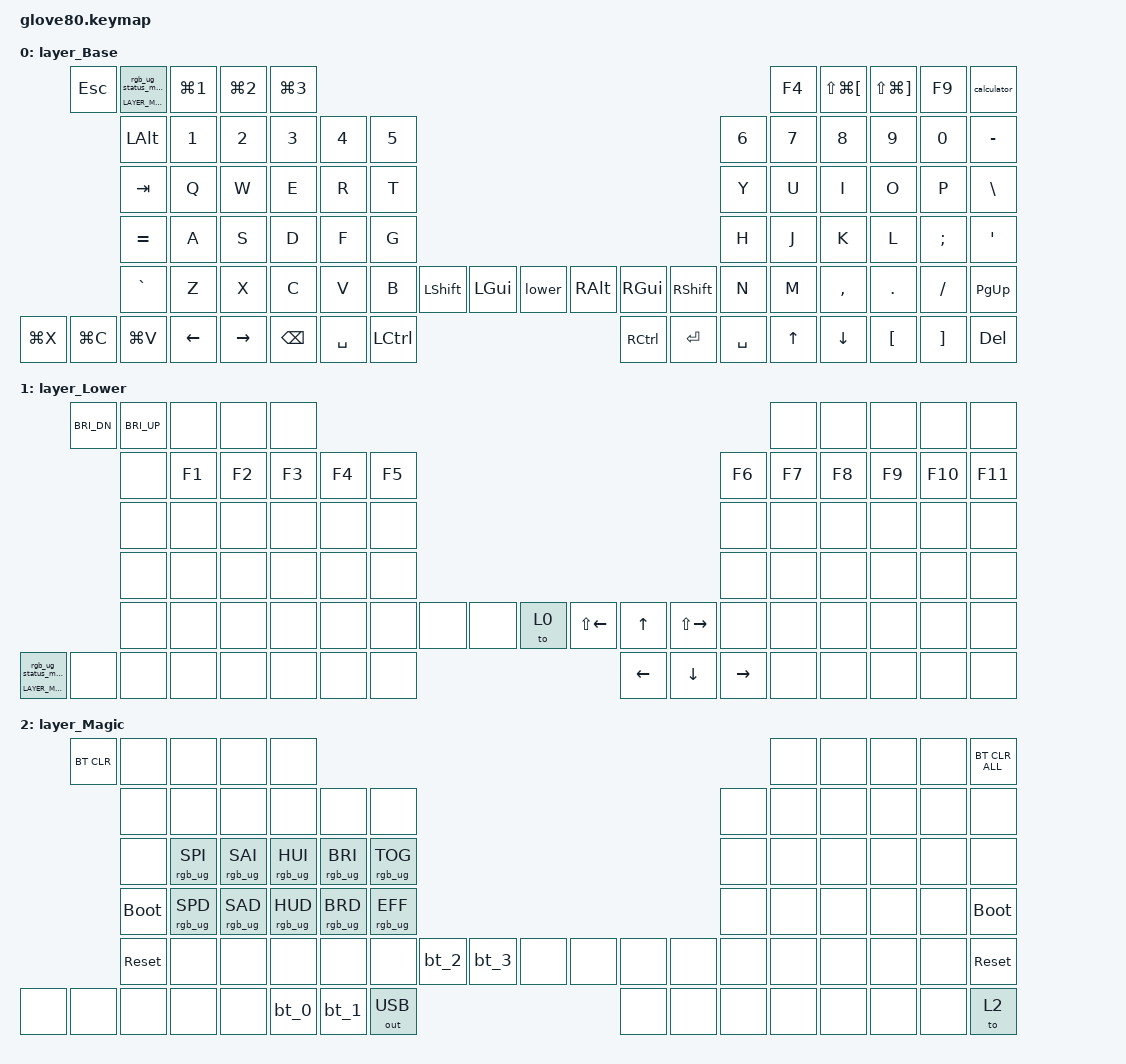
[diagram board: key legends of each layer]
/*
 * Copyright (c) 2020 The ZMK Contributors
 * Copyright (c) 2025 Innaworks Development Limited, trading as MoErgo
 *
 * SPDX-License-Identifier: MIT
 */


/* THIS FILE WAS GENERATED BY GLOVE80 LAYOUT EDITOR
 *
 * This file was generated automatically. You may or may not want to
 * edit it directly.
 */

#include <behaviors.dtsi>
/* Include all behavior includes needed */
#include <dt-bindings/zmk/outputs.h>
#include <dt-bindings/zmk/keys.h>
#include <dt-bindings/zmk/bt.h>
#include <dt-bindings/zmk/rgb.h>

#include <dt-bindings/zmk/rgb_colors.h>

/* Automatically generated layer name #define */
#define LAYER_Base 0
#define LAYER_Lower 1
#define LAYER_Magic 2

/* To deal with the situation where there is no Lower layer, to keep &lower happy */
#ifndef LAYER_Lower
#define LAYER_Lower 0
#endif

/* Custom Device-tree */


/ {
    underglow-layer {
        compatible  = "zmk,underglow-layer";


        lower {
            bindings = <
    &ug ___    &ug ___  &ug ___    &ug ___    &ug ___                                                                               &ug ___    &ug ___    &ug ___    &ug ___    &ug ___
    &ug ___    &ug ___  &ug ___    &ug ___    &ug ___ &ug ___                                                              &ug ___  &ug ___    &ug ___    &ug ___    &ug ___    &ug ___
    &ug ___    &ug ___  &ug ___    &ug ___    &ug ___ &ug ___                                                              &ug ___  &ug ___    &ug ___    &ug ___    &ug ___    &ug ___
    &ug ___    &ug ___  &ug ___    &ug ___    &ug ___ &ug ___                                                              &ug ___  &ug ___    &ug ___    &ug ___    &ug ___    &ug ___
    &ug ___    &ug ___  &ug ___    &ug ___    &ug ___ &ug ___  &ug ___ &ug ___   &ug BLUE     &ug ___   &ug GREEN &ug ___  &ug ___  &ug ___    &ug ___    &ug ___    &ug ___    &ug ___
    &ug ___    &ug ___  &ug ___    &ug ___    &ug ___          &ug ___ &ug ___   &ug ___      &ug GREEN &ug GREEN &ug GREEN         &ug ___    &ug ___    &ug ___    &ug ___    &ug ___
                >;
            layer-id = <LAYER_Lower>;
        };
    };
};

/* System behavior and Macros */
/ {
    behaviors {
        // For the "layer" key, it'd nice to be able to use it as either a shift or a toggle.
        // Configure it as a tap dance, so the first tap (or hold) is a &mo and the second tap is a &to
        lower: lower {
            compatible = "zmk,behavior-tap-dance";
            label = "LAYER_TAP_DANCE";
            #binding-cells = <0>;
            tapping-term-ms = <200>;
            bindings = <&mo LAYER_Lower>, <&to LAYER_Lower>;
        };
    };
};

/ {
    macros {
        rgb_ug_status_macro: rgb_ug_status_macro {
            label = "RGB_UG_STATUS";
            compatible = "zmk,behavior-macro";
            #binding-cells = <0>;
            bindings
                = <&rgb_ug RGB_STATUS>;
        };
    };
};


/ {
#ifdef BT_DISC_CMD
    behaviors {
        bt_0: bt_0 {
            compatible = "zmk,behavior-tap-dance";
            label = "BT_0";
            #binding-cells = <0>;
            tapping-term-ms = <200>;
            bindings = <&bt_select_0>, <&bt BT_DISC 0>;
        };
        bt_1: bt_1 {
            compatible = "zmk,behavior-tap-dance";
            label = "BT_1";
            #binding-cells = <0>;
            tapping-term-ms = <200>;
            bindings = <&bt_select_1>, <&bt BT_DISC 1>;
        };
        bt_2: bt_2 {
            compatible = "zmk,behavior-tap-dance";
            label = "BT_2";
            #binding-cells = <0>;
            tapping-term-ms = <200>;
            bindings = <&bt_select_2>, <&bt BT_DISC 2>;
        };
        bt_3: bt_3 {
            compatible = "zmk,behavior-tap-dance";
            label = "BT_3";
            #binding-cells = <0>;
            tapping-term-ms = <200>;
            bindings = <&bt_select_3>, <&bt BT_DISC 3>;
        };
    };
    macros {
        bt_select_0: bt_select_0 {
            label = "BT_SELECT_0";
            compatible = "zmk,behavior-macro";
            #binding-cells = <0>;
            bindings
                = <&out OUT_BLE>,
                  <&bt BT_SEL 0>;
        };
        bt_select_1: bt_select_1 {
            label = "BT_SELECT_1";
            compatible = "zmk,behavior-macro";
            #binding-cells = <0>;
            bindings
                = <&out OUT_BLE>,
                  <&bt BT_SEL 1>;
        };
        bt_select_2: bt_select_2 {
            label = "BT_SELECT_2";
            compatible = "zmk,behavior-macro";
            #binding-cells = <0>;
            bindings
                = <&out OUT_BLE>,
                  <&bt BT_SEL 2>;
        };
        bt_select_3: bt_select_3 {
            label = "BT_SELECT_3";
            compatible = "zmk,behavior-macro";
            #binding-cells = <0>;
            bindings
                = <&out OUT_BLE>,
                  <&bt BT_SEL 3>;
        };
    };
#else
    macros {
        bt_0: bt_0 {
            label = "BT_0";
            compatible = "zmk,behavior-macro";
            #binding-cells = <0>;
            bindings
                = <&out OUT_BLE>,
                  <&bt BT_SEL 0>;
        };
        bt_1: bt_1 {
            label = "BT_1";
            compatible = "zmk,behavior-macro";
            #binding-cells = <0>;
            bindings
                = <&out OUT_BLE>,
                  <&bt BT_SEL 1>;
        };
        bt_2: bt_2 {
            label = "BT_2";
            compatible = "zmk,behavior-macro";
            #binding-cells = <0>;
            bindings
                = <&out OUT_BLE>,
                  <&bt BT_SEL 2>;
        };
        bt_3: bt_3 {
            label = "BT_3";
            compatible = "zmk,behavior-macro";
            #binding-cells = <0>;
            bindings
                = <&out OUT_BLE>,
                  <&bt BT_SEL 3>;
        };
    };
#endif
};

/ {
    behaviors {
        magic: magic {
            compatible = "zmk,behavior-hold-tap";
            label = "MAGIC_HOLD_TAP";
            #binding-cells = <2>;
            flavor = "tap-preferred";
            tapping-term-ms = <200>;
            bindings = <&mo>, <&rgb_ug_status_macro>;
        };
    };
};

/* #define for key positions */
#define POS_LH_T1 52
#define POS_LH_T2 53
#define POS_LH_T3 54
#define POS_LH_T4 69
#define POS_LH_T5 70
#define POS_LH_T6 71
#define POS_LH_C1R2 15
#define POS_LH_C1R3 27
#define POS_LH_C1R4 39
#define POS_LH_C1R5 51
#define POS_LH_C2R1 4
#define POS_LH_C2R2 14
#define POS_LH_C2R3 26
#define POS_LH_C2R4 38
#define POS_LH_C2R5 50
#define POS_LH_C2R6 68
#define POS_LH_C3R1 3
#define POS_LH_C3R2 13
#define POS_LH_C3R3 25
#define POS_LH_C3R4 37
#define POS_LH_C3R5 49
#define POS_LH_C3R6 67
#define POS_LH_C4R1 2
#define POS_LH_C4R2 12
#define POS_LH_C4R3 24
#define POS_LH_C4R4 36
#define POS_LH_C4R5 48
#define POS_LH_C4R6 66
#define POS_LH_C5R1 1
#define POS_LH_C5R2 11
#define POS_LH_C5R3 23
#define POS_LH_C5R4 35
#define POS_LH_C5R5 47
#define POS_LH_C5R6 65
#define POS_LH_C6R1 0
#define POS_LH_C6R2 10
#define POS_LH_C6R3 22
#define POS_LH_C6R4 34
#define POS_LH_C6R5 46
#define POS_LH_C6R6 64
#define POS_RH_T1 57
#define POS_RH_T2 56
#define POS_RH_T3 55
#define POS_RH_T4 74
#define POS_RH_T5 73
#define POS_RH_T6 72
#define POS_RH_C1R2 16
#define POS_RH_C1R3 28
#define POS_RH_C1R4 40
#define POS_RH_C1R5 58
#define POS_RH_C2R1 5
#define POS_RH_C2R2 17
#define POS_RH_C2R3 29
#define POS_RH_C2R4 41
#define POS_RH_C2R5 59
#define POS_RH_C2R6 75
#define POS_RH_C3R1 6
#define POS_RH_C3R2 18
#define POS_RH_C3R3 30
#define POS_RH_C3R4 42
#define POS_RH_C3R5 60
#define POS_RH_C3R6 76
#define POS_RH_C4R1 7
#define POS_RH_C4R2 19
#define POS_RH_C4R3 31
#define POS_RH_C4R4 43
#define POS_RH_C4R5 61
#define POS_RH_C4R6 77
#define POS_RH_C5R1 8
#define POS_RH_C5R2 20
#define POS_RH_C5R3 32
#define POS_RH_C5R4 44
#define POS_RH_C5R5 62
#define POS_RH_C5R6 78
#define POS_RH_C6R1 9
#define POS_RH_C6R2 21
#define POS_RH_C6R3 33
#define POS_RH_C6R4 45
#define POS_RH_C6R5 63
#define POS_RH_C6R6 79

/* Custom Defined Behaviors */
/ {

};

/* Automatically generated macro definitions */
/ {
    macros {

        calculator: calculator {
            label = "&CALCULATOR";
            compatible = "zmk,behavior-macro";
            #binding-cells = <0>;
            bindings = <&kp LG(N3)>
                , <&kp LC(SPACE)>
                , <&kp SPACE>
                , <&kp C>
                , <&kp A>
                , <&kp L>
                , <&kp C>
                , <&kp RET>;
        };
    };
};

/* Automatically generated behavior definitions */
/ {
    behaviors {

    };
};

/* Automatically generated combos definitions */


/* Automatically generated keymap */
/ {
    keymap {
        compatible = "zmk,keymap";


        layer_Base {
            bindings = <
   &kp ESC  &magic LAYER_Magic 0  &kp LG(N1)  &kp LG(N2)  &kp LG(N3)                                                                                   &kp F4  &kp LS(LG(LBKT))  &kp LS(LG(RBKT))    &kp F9  &calculator
  &kp LALT                &kp N1      &kp N2      &kp N3      &kp N4  &kp N5                                                                   &kp N6  &kp N7            &kp N8            &kp N9    &kp N0    &kp MINUS
   &kp TAB                 &kp Q       &kp W       &kp E       &kp R   &kp T                                                                    &kp Y   &kp U             &kp I             &kp O     &kp P     &kp BSLH
 &kp EQUAL                 &kp A       &kp S       &kp D       &kp F   &kp G                                                                    &kp H   &kp J             &kp K             &kp L  &kp SEMI      &kp SQT
 &kp GRAVE                 &kp Z       &kp X       &kp C       &kp V   &kp B  &kp LSHFT   &kp LGUI     &lower   &kp RALT  &kp RGUI  &kp RSHFT   &kp N   &kp M         &kp COMMA           &kp DOT  &kp FSLH    &kp PG_UP
 &kp LG(X)             &kp LG(C)   &kp LG(V)    &kp LEFT   &kp RIGHT           &kp BSPC  &kp SPACE  &kp LCTRL  &kp RCTRL   &kp RET  &kp SPACE          &kp UP          &kp DOWN          &kp LBKT  &kp RBKT      &kp DEL
            >;
        };

        layer_Lower {
            bindings = <
         &kp C_BRI_DN  &kp C_BRI_UP   &none   &none   &none                                                                                  &none   &none   &none    &none    &none
                &none        &kp F1  &kp F2  &kp F3  &kp F4  &kp F5                                                                 &kp F6  &kp F7  &kp F8  &kp F9  &kp F10  &kp F11
                &none         &none   &none   &none   &none   &none                                                                  &none   &none   &none   &none    &none    &none
                &none         &none   &none   &none   &none   &none                                                                  &none   &none   &none   &none    &none    &none
                &none         &none   &none   &none   &none   &none   &none   &none   &to 0  &kp LS(LEFT)    &kp UP  &kp LS(RIGHT)   &none   &none   &none   &none    &none    &none
 &magic LAYER_Magic 0         &none   &none   &none   &none           &none   &none   &none      &kp LEFT  &kp DOWN      &kp RIGHT           &none   &none   &none    &none    &none
            >;
        };

        layer_Magic {
            bindings = <
  &bt BT_CLR            &none            &none            &none            &none                                                                                  &none   &none   &none   &none  &bt BT_CLR_ALL
       &none            &none            &none            &none            &none            &none                                                         &none   &none   &none   &none   &none           &none
       &none  &rgb_ug RGB_SPI  &rgb_ug RGB_SAI  &rgb_ug RGB_HUI  &rgb_ug RGB_BRI  &rgb_ug RGB_TOG                                                         &none   &none   &none   &none   &none           &none
 &bootloader  &rgb_ug RGB_SPD  &rgb_ug RGB_SAD  &rgb_ug RGB_HUD  &rgb_ug RGB_BRD  &rgb_ug RGB_EFF                                                         &none   &none   &none   &none   &none     &bootloader
  &sys_reset            &none            &none            &none            &none            &none   &bt_2   &bt_3         &none   &none   &none   &none   &none   &none   &none   &none   &none      &sys_reset
       &none            &none            &none            &none            &none                    &bt_0   &bt_1  &out OUT_USB   &none   &none   &none           &none   &none   &none   &none           &to 2
            >;
        };

    };
};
